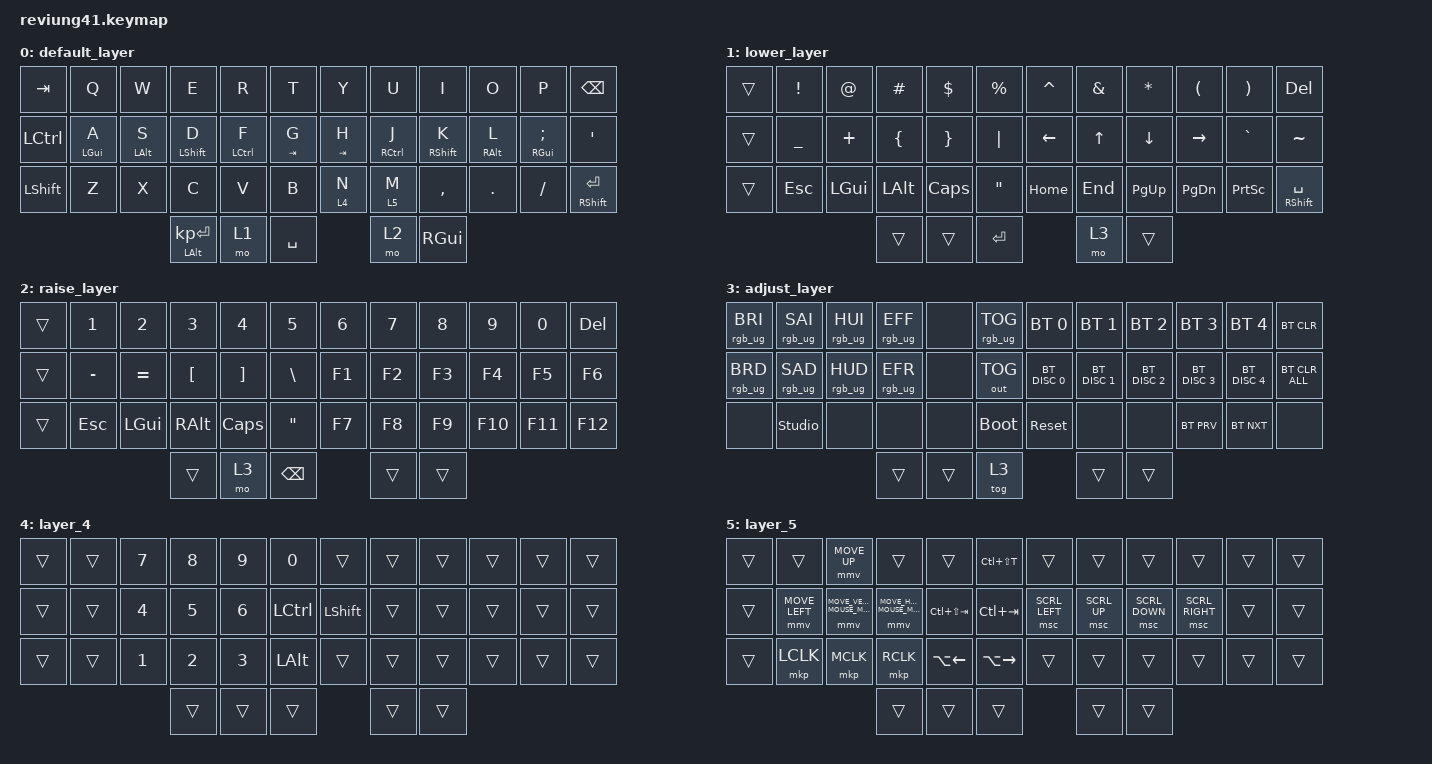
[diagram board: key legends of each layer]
/*
 * Copyright (c) 2020 The ZMK Contributors
 *
 * SPDX-License-Identifier: MIT
 */

#include <physical_layouts.dtsi>
#include <dt-bindings/zmk/mouse.h>
#include <behaviors.dtsi>
#include <dt-bindings/zmk/bt.h>
#include <dt-bindings/zmk/keys.h>
#include <dt-bindings/zmk/outputs.h>
#include <dt-bindings/zmk/pointing.h>
#include <dt-bindings/zmk/rgb.h>

#define DEFAULT 0
#define LOWER 1
#define RAISE 2
#define MOUSE 3

#undef ZMK_MOUSE_DEFAULT_MOVE_VAL
#undef ZMK_MOUSE_DEFAULT_SCRL_VAL

#define ZMK_MOUSE_DEFAULT_MOVE_VAL 1500  // 600
#define ZMK_MOUSE_DEFAULT_SCRL_VAL 20    // 10

&mmv {
    acceleration-exponent = <1>;      // 1
    time-to-max-speed-ms = <500>;     // 300
    delay-ms = <0>;                   // 0
};

&msc {
    acceleration-exponent = <1>;      // 0
    time-to-max-speed-ms = <100>;     // 300
    delay-ms = <0>;                   // 0
};

// This lets you define how fast the maximum speed is reached. So after 500ms the speed will be the full speed defined. In other words, it is the amount of time you need to hold a key to move the mouse before reaching the full speed.

#define MOUSE_TIME_TO_MAX_SPEED 500

// This is what you need to set the mouse speed

#define U_MOUSE_MOVE_MAX 3000

#undef MOVE_UP
#undef MOVE_DOWN
#undef MOVE_LEFT
#undef MOVE_RIGHT

#define MOVE_UP MOVE_VERT(-U_MOUSE_MOVE_MAX)
#define MOVE_DOWN MOVE_VERT(U_MOUSE_MOVE_MAX)
#define MOVE_LEFT MOVE_HOR(-U_MOUSE_MOVE_MAX)
#define MOVE_RIGHT MOVE_HOR(U_MOUSE_MOVE_MAX)

&mmv { time-to-max-speed-ms = <MOUSE_TIME_TO_MAX_SPEED>; };

// This is was you need for setting the scroll speed

#define U_MOUSE_SCROLL_MAX 20

#undef SCROLL_UP
#undef SCROLL_DOWN
#undef SCROLL_LEFT
#undef SCROLL_RIGHT

#define SCROLL_UP SCROLL_VERT(U_MOUSE_SCROLL_MAX)
#define SCROLL_DOWN SCROLL_VERT(-U_MOUSE_SCROLL_MAX)
#define SCROLL_LEFT SCROLL_HOR(-U_MOUSE_SCROLL_MAX)
#define SCROLL_RIGHT SCROLL_HOR(U_MOUSE_SCROLL_MAX)

&mwh { time-to-max-speed-ms = <MOUSE_TIME_TO_MAX_SPEED>; };

/ {
    keymap {
        compatible = "zmk,keymap";

        default_layer {
            // -------------------------------------------------------------------------------------
            // |  TAB |  Q  |  W  |  E  |  R  |  T  |   |  Y  |  U   |  I  |  O  |  P  |   BSPC    |
            // | CTRL |  A  |  S  |  D  |  F  |  G  |   |  H  |  J   |  K  |  L  |  ;  |    '      |
            // | SHFT |  Z  |  X  |  C  |  V  |  B  |   |  N  |  M   |  ,  |  .  |  /  | SHFT(RET) |
            //                         | ALT | LWR | SPC | RSE  | ALT |

            bindings = <
&kp TAB    &kp Q           &kp W           &kp E              &kp R               &kp T                 &kp Y      &kp U                &kp I              &kp O            &kp P               &kp BSPC
&kp LCTRL  &mt LEFT_GUI A  &mt LEFT_ALT S  &mt LEFT_SHIFT D   &mt LEFT_CONTROL F  &mt TAB G             &mt TAB H  &mt RIGHT_CONTROL J  &mt RIGHT_SHIFT K  &mt RIGHT_ALT L  &mt RIGHT_GUI SEMI  &kp SQT
&kp LSHFT  &kp Z           &kp X           &kp C              &kp V               &kp B                 &lt 4 N    &lt 5 M              &kp COMMA          &kp DOT          &kp FSLH            &mt RSHFT RET
                                           &mt LALT KP_ENTER  &mo 1                          &kp SPACE             &mo 2                &kp RGUI
            >;
        };

        lower_layer {
            // ------------------------------------------------------------------------------------
            // |    |  !  |  @  |  #  |  $  |  %  |   |  ^  |  &  |  *  |  (  |  )  |      DEL    |
            // |    |  _  |  +  |  {  |  }  | "|" |   | LFT | DWN |  UP | RGT |  `  |       ~     |
            // |    | ESC | GUI | ALT | CAPS|  "  |   | HOME| END | PGUP| PGDN| PRSC| SHFT(SPACE) |
            //                       |     |     | RET | ADJ |     |

            bindings = <
&trans  &kp EXCL   &kp AT    &kp HASH  &kp DLLR  &kp PRCNT           &kp CARET  &kp AMPS      &kp ASTRK       &kp LPAR   &kp RPAR   &kp DEL
&trans  &kp UNDER  &kp PLUS  &kp LBRC  &kp RBRC  &kp PIPE            &kp LEFT   &kp UP_ARROW  &kp DOWN_ARROW  &kp RIGHT  &kp GRAVE  &kp TILDE
&trans  &kp ESC    &kp LGUI  &kp LALT  &kp CLCK  &kp DQT             &kp HOME   &kp END       &kp PG_UP       &kp PG_DN  &kp PSCRN  &mt RSHFT SPACE
                             &trans    &trans               &kp RET             &mo 3         &trans
            >;
        };

        raise_layer {
            // ----------------------------------------------------------------------------
            // |    |  1  |  2  |  3  |  4  |  5  |   |  6  |  7  |  8  |  9  |  0  | DEL |
            // |    |  -  |  =  |  [  |  ]  |  \  |   | F1  | F2  | F3  | F4  | F5  | F6  |
            // |    | ESC | GUI | ALT | CAPS|  "  |   | F7  | F8  | F9  | F10 | F11 | F12 |
            //                       |     | ADJ | BSPC |    |     |

            bindings = <
&trans  &kp N1     &kp N2     &kp N3    &kp N4    &kp N5              &kp N6  &kp N7  &kp N8  &kp N9   &kp N0   &kp DEL
&trans  &kp MINUS  &kp EQUAL  &kp LBKT  &kp RBKT  &kp BSLH            &kp F1  &kp F2  &kp F3  &kp F4   &kp F5   &kp F6
&trans  &kp ESC    &kp LGUI   &kp RALT  &kp CLCK  &kp DQT             &kp F7  &kp F8  &kp F9  &kp F10  &kp F11  &kp F12
                              &trans    &mo 3               &kp BSPC          &trans  &trans
            >;
        };

        adjust_layer {
            // -----------------------------------------------------------------------------------------
            // | RGB BRI+ | RGB SAT+ | RGB HUE+ | RGB ANI+ |    | RGB TOG |   |  BT1  | BT2 | BT3 | BT4 | BT5 | BT CLR |
            // | RGB BRI- | RGB SAT- | RGB HUE- | RGB ANI- |    |         |   |       |     |     |     |     |        |
            // |          |          |          |          |    |         |   | RESET |     |     |     |     |        |
            //                                              |     |     |     |     |     |

            bindings = <
&rgb_ug RGB_BRI  &rgb_ug RGB_SAI  &rgb_ug RGB_HUI  &rgb_ug RGB_EFF  &none   &rgb_ug RGB_TOG          &bt BT_SEL 0   &bt BT_SEL 1   &bt BT_SEL 2   &bt BT_SEL 3   &bt BT_SEL 4   &bt BT_CLR
&rgb_ug RGB_BRD  &rgb_ug RGB_SAD  &rgb_ug RGB_HUD  &rgb_ug RGB_EFR  &none   &out OUT_TOG             &bt BT_DISC 0  &bt BT_DISC 1  &bt BT_DISC 2  &bt BT_DISC 3  &bt BT_DISC 4  &bt BT_CLR_ALL
&none            &studio_unlock   &none            &none            &none   &bootloader              &sys_reset     &none          &none          &bt BT_PRV     &bt BT_NXT     &none
                                                   &trans           &trans                   &tog 3                 &trans         &trans
            >;
        };

        layer_4 {
            bindings = <
&trans  &trans  &kp N7  &kp N8  &kp N9  &kp N0             &trans     &trans  &trans  &trans  &trans  &trans
&trans  &trans  &kp N4  &kp N5  &kp N6  &kp LCTRL          &kp LSHFT  &trans  &trans  &trans  &trans  &trans
&trans  &trans  &kp N1  &kp N2  &kp N3  &kp LALT           &trans     &trans  &trans  &trans  &trans  &trans
                        &trans  &trans             &trans             &trans  &trans
            >;
        };

        layer_5 {
            bindings = <
&trans  &trans          &mmv MOVE_UP    &trans           &trans              &kp LC(LS(T))                &trans          &trans        &trans          &trans           &trans  &trans
&trans  &mmv MOVE_LEFT  &mmv MOVE_DOWN  &mmv MOVE_RIGHT  &kp LC(LS(TAB))     &kp LC(TAB)                  &msc SCRL_LEFT  &msc SCRL_UP  &msc SCRL_DOWN  &msc SCRL_RIGHT  &trans  &trans
&trans  &mkp LCLK       &mkp MCLK       &mkp RCLK        &kp LA(LEFT_ARROW)  &kp LA(RIGHT_ARROW)          &trans          &trans        &trans          &trans           &trans  &trans
                                        &trans           &trans                                   &trans                  &trans        &trans
            >;
        };
    };
};
